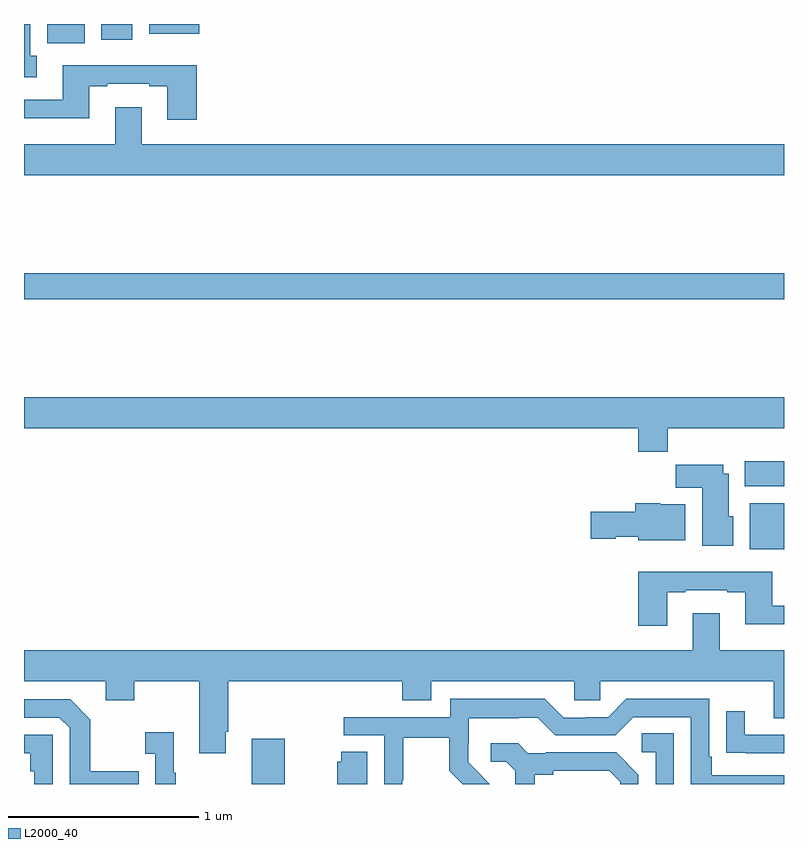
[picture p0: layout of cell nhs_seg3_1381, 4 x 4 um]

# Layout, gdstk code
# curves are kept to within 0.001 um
import gdstk
lib = gdstk.Library(unit=1e-6, precision=1e-09)
def R(c, l, rs):  # rectangles x0, y0, x1, y1
    for r in rs: c.add(gdstk.rectangle(r[:2], r[2:], *l))
def P(c, l, *ps):  # polygons
    for p in ps: c.add(gdstk.Polygon(p, *l))
L2000_40 = (2000, 40)

nhs_seg3_1381 = lib.new_cell('nhs_seg3_1381')
R(nhs_seg3_1381, L2000_40, [(184.199,676.4,184.372,676.639), (186.821,677.636,187,677.878), (186.794,677.966,187,678.1), (183,678.952,187,679.088), (183.122,680.3,183.319,680.4), (183.407,680.318,183.571,680.4), (183.659,680.348,183.923,680.4)])
P(nhs_seg3_1381, L2000_40, [(183.067,680.234),(183.034,680.234),(183.034,680.4),(183,680.4),(183,680.121),(183.067,680.121)],
  [(183.908,680.182),(183.203,680.182),(183.203,680.001),(183,680.001),(183,679.904),(183.343,679.904),(183.343,680.073),(183.439,680.073),(183.439,680.085),(183.659,680.085),(183.659,680.073),(183.755,680.073),(183.755,679.896),(183.908,679.896)],
  [(187,679.768),(183.619,679.768),(183.619,679.963),(183.479,679.963),(183.479,679.768),(183,679.768),(183,679.604),(187,679.604)],
  [(186.389,678.272),(187,678.272),(187,678.436),(183,678.436),(183,678.272),(186.233,678.272),(186.233,678.148),(186.389,678.148)],
  [(186.733,677.808),(186.709,677.808),(186.709,678.034),(186.679,678.034),(186.679,678.079),(186.43,678.079),(186.43,677.96),(186.569,677.96),(186.569,677.654),(186.733,677.654)],
  [(186.481,677.872),(186.348,677.872),(186.348,677.878),(186.218,677.878),(186.218,677.832),(185.982,677.832),(185.982,677.69),(186.114,677.69),(186.114,677.702),(186.234,677.702),(186.234,677.684),(186.481,677.684)],
  [(186.385,677.409),(186.481,677.409),(186.481,677.421),(186.701,677.421),(186.701,677.409),(186.797,677.409),(186.797,677.24),(187,677.24),(187,677.337),(186.937,677.337),(186.937,677.518),(186.233,677.518),(186.233,677.232),(186.385,677.232)],
  [(186.661,677.299),(186.521,677.299),(186.521,677.104),(183,677.104),(183,676.94),(183.431,676.94),(183.431,676.841),(183.579,676.841),(183.579,676.94),(183.923,676.94),(183.923,676.563),(184.063,676.563),(184.063,676.675),(184.076,676.675),(184.076,676.94),(184.991,676.94),(184.991,676.841),(185.143,676.841),(185.143,676.94),(185.895,676.94),(185.895,676.842),(186.033,676.842),(186.033,676.94),(186.947,676.94),(186.947,676.746),(187,676.746),(187,677.104),(186.661,677.104)],
  [(184.992,676.42),(184.995,676.42),(184.995,676.644),(185.239,676.644),(185.239,676.469),(185.308,676.4),(185.45,676.4),(185.338,676.514),(185.338,676.611),(185.34,676.611),(185.34,676.745),(185.603,676.745),(185.603,676.749),(185.703,676.749),(185.796,676.656),(186.111,676.656),(186.207,676.752),(186.51,676.752),(186.51,676.4),(187,676.4),(187,676.446),(186.619,676.446),(186.619,676.543),(186.606,676.543),(186.606,676.848),(186.171,676.848),(186.075,676.752),(185.957,676.752),(185.957,676.749),(185.841,676.749),(185.741,676.849),(185.244,676.849),(185.244,676.752),(184.683,676.752),(184.683,676.656),(184.896,676.656),(184.896,676.4),(184.992,676.4)],
  [(183.605,676.467),(183.349,676.467),(183.349,676.739),(183.243,676.845),(183,676.845),(183,676.749),(183.186,676.749),(183.24,676.695),(183.24,676.4),(183.605,676.4)],
  [(187,676.659),(186.793,676.659),(186.793,676.783),(186.697,676.783),(186.697,676.564),(186.799,676.564),(186.799,676.563),(187,676.563)],
  [(183.799,676.459),(183.787,676.459),(183.787,676.672),(183.639,676.672),(183.639,676.559),(183.69,676.559),(183.69,676.4),(183.799,676.4)],
  [(186.42,676.667),(186.252,676.667),(186.252,676.566),(186.324,676.566),(186.324,676.4),(186.42,676.4)],
  [(183.15,676.659),(183,676.659),(183,676.563),(183.034,676.563),(183.034,676.466),(183.054,676.466),(183.054,676.4),(183.15,676.4)],
  [(185.689,676.448),(185.785,676.448),(185.785,676.47),(186.08,676.47),(186.137,676.413),(186.137,676.4),(186.234,676.4),(186.234,676.45),(186.118,676.566),(185.746,676.566),(185.746,676.563),(185.652,676.563),(185.6,676.615),(185.457,676.615),(185.457,676.518),(185.538,676.518),(185.585,676.471),(185.585,676.4),(185.689,676.4)],
  [(184.807,676.571),(184.669,676.571),(184.669,676.518),(184.649,676.518),(184.649,676.4),(184.807,676.4)])

lib.write_gds('nhs_seg3_1381.gds')
